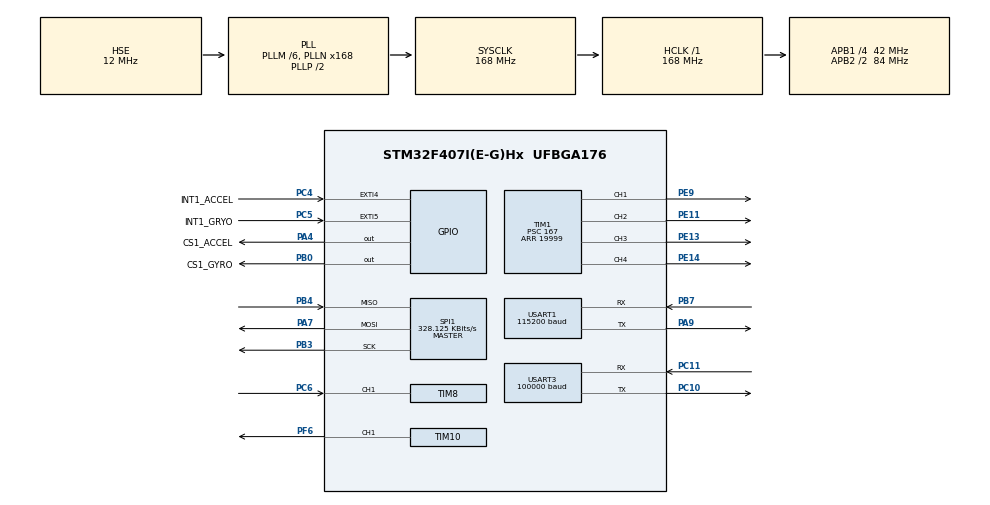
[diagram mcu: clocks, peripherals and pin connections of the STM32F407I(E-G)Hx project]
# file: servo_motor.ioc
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Dma.Request0=SPI1_RX
Dma.Request1=SPI1_TX
Dma.Request2=USART1_TX
Dma.Request3=USART3_RX
Dma.Request4=USART1_RX
Dma.SPI1_RX.0.Direction=DMA_PERIPH_TO_MEMORY
Dma.SPI1_RX.0.FIFOMode=DMA_FIFOMODE_DISABLE
Dma.SPI1_RX.0.Instance=DMA2_Stream2
Dma.SPI1_RX.0.MemDataAlignment=DMA_MDATAALIGN_BYTE
Dma.SPI1_RX.0.MemInc=DMA_MINC_ENABLE
Dma.SPI1_RX.0.Mode=DMA_NORMAL
Dma.SPI1_RX.0.PeriphDataAlignment=DMA_PDATAALIGN_BYTE
Dma.SPI1_RX.0.PeriphInc=DMA_PINC_DISABLE
Dma.SPI1_RX.0.Priority=DMA_PRIORITY_HIGH
Dma.SPI1_TX.1.Direction=DMA_MEMORY_TO_PERIPH
Dma.SPI1_TX.1.FIFOMode=DMA_FIFOMODE_DISABLE
Dma.SPI1_TX.1.Instance=DMA2_Stream3
Dma.SPI1_TX.1.MemDataAlignment=DMA_MDATAALIGN_BYTE
Dma.SPI1_TX.1.MemInc=DMA_MINC_ENABLE
Dma.SPI1_TX.1.Mode=DMA_NORMAL
Dma.SPI1_TX.1.PeriphDataAlignment=DMA_PDATAALIGN_BYTE
Dma.SPI1_TX.1.PeriphInc=DMA_PINC_DISABLE
Dma.SPI1_TX.1.Priority=DMA_PRIORITY_HIGH
Dma.USART1_RX.4.Direction=DMA_PERIPH_TO_MEMORY
Dma.USART1_RX.4.FIFOMode=DMA_FIFOMODE_DISABLE
Dma.USART1_RX.4.Instance=DMA2_Stream5
Dma.USART1_RX.4.MemDataAlignment=DMA_MDATAALIGN_BYTE
Dma.USART1_RX.4.MemInc=DMA_MINC_ENABLE
Dma.USART1_RX.4.Mode=DMA_NORMAL
Dma.USART1_RX.4.PeriphDataAlignment=DMA_PDATAALIGN_BYTE
Dma.USART1_RX.4.PeriphInc=DMA_PINC_DISABLE
Dma.USART1_RX.4.Priority=DMA_PRIORITY_VERY_HIGH
Dma.USART1_TX.2.Direction=DMA_MEMORY_TO_PERIPH
Dma.USART1_TX.2.FIFOMode=DMA_FIFOMODE_DISABLE
Dma.USART1_TX.2.Instance=DMA2_Stream7
Dma.USART1_TX.2.MemDataAlignment=DMA_MDATAALIGN_BYTE
Dma.USART1_TX.2.MemInc=DMA_MINC_ENABLE
Dma.USART1_TX.2.Mode=DMA_NORMAL
Dma.USART1_TX.2.PeriphDataAlignment=DMA_PDATAALIGN_BYTE
Dma.USART1_TX.2.PeriphInc=DMA_PINC_DISABLE
Dma.USART1_TX.2.Priority=DMA_PRIORITY_VERY_HIGH
Dma.USART3_RX.3.Direction=DMA_PERIPH_TO_MEMORY
Dma.USART3_RX.3.FIFOMode=DMA_FIFOMODE_DISABLE
Dma.USART3_RX.3.Instance=DMA1_Stream1
Dma.USART3_RX.3.MemDataAlignment=DMA_MDATAALIGN_BYTE
Dma.USART3_RX.3.MemInc=DMA_MINC_ENABLE
Dma.USART3_RX.3.Mode=DMA_NORMAL
Dma.USART3_RX.3.PeriphDataAlignment=DMA_PDATAALIGN_BYTE
Dma.USART3_RX.3.PeriphInc=DMA_PINC_DISABLE
Dma.USART3_RX.3.Priority=DMA_PRIORITY_MEDIUM
Mcu.Family=STM32F4
Mcu.Name=STM32F407I(E-G)Hx
Mcu.Package=UFBGA176
NVIC.DMA1_Stream1_IRQn=true\:0\:0\:false\:false\:true\:false\:true
NVIC.DMA2_Stream2_IRQn=true\:3\:0\:true\:false\:false\:false\:false
NVIC.DMA2_Stream3_IRQn=true\:2\:0\:true\:false\:false\:false\:false
NVIC.DMA2_Stream5_IRQn=true\:0\:0\:false\:false\:true\:false\:true
NVIC.DMA2_Stream7_IRQn=true\:1\:0\:true\:false\:true\:false\:true
NVIC.EXTI4_IRQn=true\:0\:0\:false\:false\:true\:true\:true
NVIC.EXTI9_5_IRQn=true\:0\:0\:false\:false\:true\:true\:true
NVIC.PriorityGroup=NVIC_PRIORITYGROUP_4
NVIC.TIM8_CC_IRQn=true\:0\:0\:true\:false\:true\:true\:true
NVIC.USART1_IRQn=true\:0\:0\:false\:false\:true\:true\:true
NVIC.USART3_IRQn=true\:4\:0\:true\:false\:true\:true\:true
PA13.Mode=Serial_Wire
PA13.Signal=SYS_JTMS-SWDIO
PA14.Mode=Serial_Wire
PA14.Signal=SYS_JTCK-SWCLK
PA4.GPIO_Label=CS1_ACCEL
PA4.GPIO_ModeDefaultOutputPP=GPIO_MODE_OUTPUT_PP
PA4.GPIO_PuPd=GPIO_PULLUP
PA4.GPIO_Speed=GPIO_SPEED_FREQ_HIGH
PA4.PinState=GPIO_PIN_SET
PA4.Signal=GPIO_Output
PA7.Mode=Full_Duplex_Master
PA7.Signal=SPI1_MOSI
PA9.Mode=Asynchronous
PA9.Signal=USART1_TX
PB0.GPIO_Label=CS1_GYRO
PB0.GPIO_PuPd=GPIO_PULLUP
PB0.GPIO_Speed=GPIO_SPEED_FREQ_HIGH
PB0.PinState=GPIO_PIN_SET
PB0.Signal=GPIO_Output
PB3.Mode=Full_Duplex_Master
PB3.Signal=SPI1_SCK
PB4.Mode=Full_Duplex_Master
PB4.Signal=SPI1_MISO
PB7.Mode=Asynchronous
PB7.Signal=USART1_RX
PC10.Mode=Asynchronous
PC10.Signal=USART3_TX
PC11.Mode=Asynchronous
PC11.Signal=USART3_RX
PC4.GPIO_Label=INT1_ACCEL
PC4.GPIO_ModeDefaultEXTI=GPIO_MODE_IT_FALLING
PC4.GPIO_PuPd=GPIO_PULLUP
PC4.Signal=GPXTI4
PC5.GPIO_Label=INT1_GRYO
PC5.GPIO_ModeDefaultEXTI=GPIO_MODE_IT_FALLING
PC5.GPIO_PuPd=GPIO_PULLUP
PC5.Signal=GPXTI5
PC6.GPIO_PuPd=GPIO_PULLUP
PC6.GPIO_Speed=GPIO_SPEED_FREQ_HIGH
PC6.Signal=S_TIM8_CH1
PE11.GPIO_PuPd=GPIO_PULLUP
PE11.GPIO_Speed=GPIO_SPEED_FREQ_HIGH
PE11.Signal=S_TIM1_CH2
PE13.GPIO_PuPd=GPIO_PULLUP
PE13.GPIO_Speed=GPIO_SPEED_FREQ_HIGH
PE13.Signal=S_TIM1_CH3
PE14.GPIO_PuPd=GPIO_PULLUP
PE14.GPIO_Speed=GPIO_SPEED_FREQ_HIGH
PE14.Signal=S_TIM1_CH4
PE9.GPIO_PuPd=GPIO_PULLUP
PE9.GPIO_Speed=GPIO_SPEED_FREQ_HIGH
PE9.Signal=S_TIM1_CH1
PF6.GPIO_PuPd=GPIO_PULLUP
PF6.GPIO_Speed=GPIO_SPEED_FREQ_HIGH
PF6.Signal=S_TIM10_CH1
PH0-OSC_IN.Mode=HSE-External-Oscillator
PH0-OSC_IN.Signal=RCC_OSC_IN
PH1-OSC_OUT.Mode=HSE-External-Oscillator
PH1-OSC_OUT.Signal=RCC_OSC_OUT
PI7.GPIO_PuPd=GPIO_PULLUP
PI7.GPIO_Speed=GPIO_SPEED_FREQ_HIGH
PI7.Signal=S_TIM8_CH3
ProjectManager.HeapSize=0x2000
ProjectManager.StackSize=0x2000
ProjectManager.TargetToolchain=MDK-ARM V5
RCC.48MHZClocksFreq_Value=48000000
RCC.AHBFreq_Value=168000000
RCC.APB1CLKDivider=RCC_HCLK_DIV4
RCC.APB1Freq_Value=42000000
RCC.APB1TimFreq_Value=84000000
RCC.APB2CLKDivider=RCC_HCLK_DIV2
RCC.APB2Freq_Value=84000000
RCC.APB2TimFreq_Value=168000000
RCC.CortexFreq_Value=21000000
RCC.Cortex_Div=SYSTICK_CLKSOURCE_HCLK_DIV8
RCC.HCLKFreq_Value=168000000
RCC.HSE_VALUE=12000000
RCC.HSI_VALUE=16000000
RCC.LSE_VALUE=32768
RCC.PLLM=6
RCC.PLLN=168
RCC.PLLQ=7
RCC.PLLSourceVirtual=RCC_PLLSOURCE_HSE
RCC.RCC_RTC_Clock_SourceVirtual=RCC_RTCCLKSOURCE_HSE_DIV30
RCC.RCC_RTC_Clock_Source_FROM_HSE=RCC_RTCCLKSOURCE_HSE_DIV30
RCC.SYSCLKFreq_VALUE=168000000
RCC.SYSCLKSource=RCC_SYSCLKSOURCE_PLLCLK
RCC.VCOOutputFreq_Value=336000000
SH.S_TIM10_CH1.0=TIM10_CH1,PWM Generation1 CH1
SH.S_TIM1_CH1.0=TIM1_CH1,PWM Generation1 CH1
SH.S_TIM1_CH2.0=TIM1_CH2,PWM Generation2 CH2
SH.S_TIM1_CH3.0=TIM1_CH3,PWM Generation3 CH3
SH.S_TIM1_CH4.0=TIM1_CH4,PWM Generation4 CH4
SH.S_TIM8_CH1.0=TIM8_CH1,Input_Capture1_from_TI1
SH.S_TIM8_CH3.0=TIM8_CH3
SPI1.BaudRatePrescaler=SPI_BAUDRATEPRESCALER_256
SPI1.CLKPhase=SPI_PHASE_2EDGE
SPI1.CLKPolarity=SPI_POLARITY_HIGH
SPI1.CalculateBaudRate=328.125 KBits/s
SPI1.Direction=SPI_DIRECTION_2LINES
SPI1.Mode=SPI_MODE_MASTER
SPI1.VirtualType=VM_MASTER
TIM1.Channel-PWM\ Generation1\ CH1=TIM_CHANNEL_1
TIM1.Channel-PWM\ Generation2\ CH2=TIM_CHANNEL_2
TIM1.Channel-PWM\ Generation3\ CH3=TIM_CHANNEL_3
TIM1.Channel-PWM\ Generation4\ CH4=TIM_CHANNEL_4
TIM1.Period=19999
TIM1.Prescaler=167
TIM1.Pulse-PWM\ Generation1\ CH1=2000
TIM1.Pulse-PWM\ Generation2\ CH2=2000
TIM1.Pulse-PWM\ Generation3\ CH3=2000
TIM1.Pulse-PWM\ Generation4\ CH4=2000
TIM10.Channel=TIM_CHANNEL_1
TIM10.Period=4999
TIM8.Channel-Input_Capture1_from_TI1=TIM_CHANNEL_1
TIM8.Period=0xffff
TIM8.Prescaler=2564
USART1.BaudRate=115200
USART1.VirtualMode=VM_ASYNC
USART3.BaudRate=100000
USART3.Mode=MODE_RX
USART3.Parity=PARITY_NONE
USART3.VirtualMode=VM_ASYNC
VP_TIM10_VS_ClockSourceINT.Mode=Enable_Timer
VP_TIM1_VS_ClockSourceINT.Mode=Internal
VP_TIM6_VS_ClockSourceINT.Mode=Enable_Timer
board=custom

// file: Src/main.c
/* USER CODE BEGIN Header */
/**
  ******************************************************************************
  * @file           : main.c
  * @brief          : Main program body
  ******************************************************************************
  * @attention
  *
  * <h2><center>&copy; Copyright (c) 2019 STMicroelectronics.
  * All rights reserved.</center></h2>
  *
  * This software component is licensed by ST under BSD 3-Clause license,
  * the "License"; You may not use this file except in compliance with the
  * License. You may obtain a copy of the License at:
  *                        opensource.org/licenses/BSD-3-Clause
  *
  ******************************************************************************
  */
/* USER CODE END Header */
#include "main.h"
#include "dma.h"
#include "spi.h"
#include "tim.h"
#include "usart.h"
#include "gpio.h"

/* USER CODE BEGIN Includes */
#include "bsp_usart.h"
#include <stdio.h>
#include <stdbool.h>   //so that i can use bool
#include <stdarg.h>
#include "string.h"
#include "BMI088driver.h"
#include "ANO.h"
#include "remote_control.h"
#include "mbotLinuxUsart.h"
/* USER CODE END Includes */

/* USER CODE BEGIN PV */
JEFF_CLOCK jeff_clock = {0};
/* USER CODE END PV */

void SystemClock_Config(void);

/* USER CODE BEGIN 0 */

//I'd like to thank this author who did me such a huge favour in pwm capture.
//https://controllerstech.com/how-to-use-input-capture-in-stm32/
//for ANO, I learnt from this tutorial
//https://www.bilibili.com/video/BV1cJ411N7P4/?spm_id_from=333.788.videocard.6

//please
uint8_t in_rx_it = 0;

//----------------------------IMU-----------------------------------------------------//
fp32 gyro[3], accel[3], temp;
//----------------------------IMU_END-----------------------------------------------------//

//--------------------------------------PERIODIC_CALLBACK_CLOCK----------------------------------------//
void clear_freq_100ms(void);

//--------------------------------------PERIODIC_CALLBACK_CLOCK----------------------------------------//

//-------------------------------------------------ANO--------------------------------------------------------------------------------------//

int trans_scale_gyro = 1e5;
int trans_scale_acce = 1e3;

#define BYTE0(dwTemp) (*( (char *)(&dwTemp)     ))
#define BYTE1(dwTemp) (*( (char *)(&dwTemp)+1     ))
#define BYTE2(dwTemp) (*( (char *)(&dwTemp)+2    ))
#define BYTE3(dwTemp) (*( (char *)(&dwTemp)+3    ))

//static uint8_t TxBuffer[256];
//static uint8_t TxCounter=0;
//static uint8_t count = 0;
//uint8_t Datatosend[100]; //int ANO
//void Uart1_Put_Buf(unsigned char *Datatosend, uint8_t data_num);
//void ANOINT(int16_t _a, int16_t _b, int32_t _c);

//unsigned int ANO
uint8_t testdatatosend[50];
void TestSendData(uint8_t *dataToSend, uint8_t length);
void Test_Send_User (int16_t data1, int16_t data2, int16_t data3,
					int16_t data4, int16_t data5, int16_t data6,
					int16_t data7,int16_t data8,int16_t data9,
					int16_t data10);

//-------------------------------------------ANO_END---------------------------------------//

//------------------------------------------DJI---------------------------------------------//
const RC_ctrl_t *local_rc_ctrl;
void usart_printf(const char *fmt,...)
{
    static uint8_t tx_buf[256] = {0};
    static va_list ap;
    static uint16_t len;
    va_start(ap, fmt);

    //return length of string
    //返回字符串长度
    len = vsprintf((char *)tx_buf, fmt, ap);

    va_end(ap);

    //usart1_tx_dma_enable(tx_buf, len);
	TestSendData(tx_buf, len);
}
//------------------------------------------DJI_END---------------------------------------------//

//--------------------------------------------ROS-------------------------------------------------//
const ROS_ctrl_t *local_ros_ctrl;

//测试发送变量
short testSend1   =5000;
short testSend2   =2000;
short testSend3   =1000;
unsigned char testSend4 = 0x05;

//测试接收变量
int testRece1     =0;
int testRece2     =0;
unsigned char testRece3 = 0x00;

//左右轮速控制速度共用体
union receiveData_t
{
	short d;
	unsigned char data[2];
}left,right;

//--------------------------------------------ROS-------------------------------------------------//

//testing
uint16_t cont1 =0;
uint8_t flip=0;
uint8_t times=0;
float t_pwm = 1600;
int16_t ref_hz = 0;

//capture freq
char str[12];
char str2[12];
float main_clock_freq = 168e6;
uint16_t psc_val = 2564;     ///range = 1hz to 13kHZ
uint16_t ARR_val = 0xffff;
float timer_counting_freq;
float IC_Value1=0.0;
float IC_Value2=0.0;
float Diff = 0.0;
float freq = 0.0;
float freq_prev = 0.0;
uint8_t Is_first_capture=0; //0-not captured, 1- captured

//pid part
float freq_to_m_rpm;
float motor_to_wheel;
float e_pre=0;
float e_now=0;
float delta_e=0;
float delta_t=1;  //This is changing, hard to capture?
float I_e=0;
int pid_scale = 1e5;
//float kp_raw=0.0001;
//float ki_raw=0.00005;
//float kd_raw=0.00001;
float kp_raw=10;
float ki_raw=5;
float kd_raw=1;
float kp;
float ki;
float kd;

void HAL_TIM_IC_CaptureCallback(TIM_HandleTypeDef *htim)
{
	if(htim->Channel == HAL_TIM_ACTIVE_CHANNEL_1) //If tim8 ch1 prompts an interrupt
	{
		if(Is_first_capture==0) //if first captured?
		{
			IC_Value1=HAL_TIM_ReadCapturedValue(htim,TIM_CHANNEL_1); //Read the timestamp
			Is_first_capture=1;
		}

		else if (Is_first_capture) //not the first capture
		{
			IC_Value2 = HAL_TIM_ReadCapturedValue(htim,TIM_CHANNEL_1); //Record the second capture
			if(IC_Value2 > IC_Value1)
								      /*
										Since we have adjusted psc to make sure
										the time difference between the two values are smaller
										than the time needed for counter to count from 0 to arr,
										then there are only two cases: IC2 and IC1 are on the same slope
										in which IC2 >ic1
										OR, IC2 and ic1 are on different slope in which ic2 MUST be smaller
										than ic1
										*/
			{
				Diff = IC_Value2 - IC_Value1;
			}
			else if(IC_Value2 < IC_Value1) //On different slope
			{
				Diff=((ARR_val-IC_Value1)+IC_Value2) +1; //i don't understand why plus 1;
			}
			else
			{
				Error_Handler();  //Built in hal func for which i have no idea what it is doing
			}
			//freq = (168e6/72)/Diff;
			freq = (timer_counting_freq)/Diff;
									/*
									//for psc = 72
									//168e6/72 is the freq of the timer, where 72 is the psc
									//168e6/72 gives how quick the counter is counting from 0 to ARR
									//So the timer counts every (72/168e6=4.2e-7) seconds and takes
									// 4.2e-7 *ARR(65536) = 0.028 seconds to reach ARR
									//So we need to make sure that the time difference between two
									//rising edge is within 0.028 seconds(as in this mode
									//when rising edge is detected and this function is called,
									// the current counting number will not be reset to zero)
									//otherwise the algo will fail
									//in other words, the minimum freq that we can detect
									// is (168e6/72)/ARR = 35.6 = 1/0.028
									//If the minimum freq required is even lower, we can adjust
									// the psc (72 here) to lower the mini detectable freq
									//The max detectable freq is the counting freq of the tim
									//or for a better precision 2 or 3 or 5times lower than
									// the couting freq of the tim
									//so here maxf = (168e6/72)/accurate_factor(5) = 466 kHz.
									//so detectable range is 35.6 to 466 khz

									//for psc = 2564  range = 1hz to 13kHZ
									//Might change to this psc in the future---- did --very good result
									*/

			Is_first_capture =0; //reset ready for next capture.
		}

	}
}
/* USER CODE END 0 */

int main(void)
{

  /* MCU Configuration--------------------------------------------------------*/

  /* Reset of all peripherals, Initializes the Flash interface and the Systick. */
  HAL_Init();

  /* Configure the system clock */
  SystemClock_Config();

  /* Initialize all configured peripherals */
  MX_GPIO_Init();
  MX_DMA_Init();
  MX_TIM8_Init();
  MX_TIM1_Init();
  MX_USART1_UART_Init();
  MX_SPI1_Init();
  MX_TIM10_Init();
  MX_USART3_UART_Init();
  MX_TIM6_Init();
  /* USER CODE BEGIN 2 */

  kp = kp_raw/pid_scale;
  ki = ki_raw/pid_scale;
  kd = kd_raw/pid_scale;
  //Init the IMU
  while(BMI088_init())
	{
		;
	}

  //DJI rc control
  remote_control_init();

  usart1_tx_dma_init();
  local_rc_ctrl = get_remote_control_point();

  //------------------------------------------------------ROS---------------------------------------------//
  ros_control_init();
  local_ros_ctrl = get_ros_control_point();
  //------------------------------------------------------ROS---------------------------------------------//

  //PWM
  HAL_TIM_Base_Start(&htim1);
  HAL_TIM_PWM_Start(&htim1, TIM_CHANNEL_1);
  HAL_TIM_PWM_Start(&htim1, TIM_CHANNEL_2);
  //HAL_TIM_PWM_Start(&htim1, TIM_CHANNEL_3);
  __HAL_TIM_SetCompare(&htim1, TIM_CHANNEL_1, 1500);
  __HAL_TIM_SetCompare(&htim1, TIM_CHANNEL_2, 1500);

  //Tim8 ch1 for capture
  HAL_TIM_IC_Start_IT(&htim8,TIM_CHANNEL_1);
  timer_counting_freq = main_clock_freq/psc_val;

  //usart1 it enable
  //__HAL_UART_ENABLE_IT(&huart1,UART_IT_TC); /////Must have this !!!!!!!!
  HAL_Delay(3000);

  /* USER CODE END 2 */

  /* Infinite loop */
  /* USER CODE BEGIN WHILE */
  while (1)
  {

/*
//20ms ARR 20000
//1600 motor: low back , wheel small to left (driver view) ----- 1.6ms ----------never give motor value greater than 1500
//1400 motor: low forward, wheel small to left -------------------1.4ms

//wheel
//left max-----1800 ----1.8ms
//right max ---- 1100  --- 1.2ms

//motor
//1500 zero ----------------------1.5ms   ------- 0hz
//2000 max ------------------------2ms -- forward  ---- 753~761hz
//could be higher
//never put value smaller than 1500;

DJI_controller
	  ch1: motor  upmax 660  downmin -660
	  ch2: lefthand left-660 right +660
  */

/*
//---------------------------------------Old_print_func-------------------------------------------//

//		sprintf(str2, "%d", ref_hz);
//		sprintf(str, "%f", freq);
//
//		//HAL_UART_Transmit(&huart1, "Actual:", 12, 100);
//		HAL_UART_Transmit(&huart1, str, 12, 100);
//		HAL_UART_Transmit(&huart1, "    \r\n", 12, 100);
//
//		//HAL_UART_Transmit(&huart1, "ref:", 12, 100);
//		HAL_UART_Transmit(&huart1, str2, 12, 100);
//		HAL_UART_Transmit(&huart1, "    \r\n", 12, 100);
//---------------------------------------Old_print_func-------------------------------------------//
*/

/*
//-------------------------------------PID_adjust----------------------------------------------//
//	if(flip==0)
//	{
//		cont1 ++;
//		if (cont1 >100)
//			{
//				ref_hz +=600;
//				if(ref_hz<700)
//				{
//					ref_hz = ref_hz;
//				}
//				else
//				{
//					ref_hz =400;
//				}
//
//				times ++;
//
//				if(times >1)
//				{
//					flip=1;
//					times = 0;
//				}
//
//
//				cont1 = 0;
//			}
//
//	}
//
//	if(flip==1)
//	{
//		cont1 ++;
//		if (cont1 >100)
//			{
//				ref_hz -=600;
//				if(ref_hz<701 && ref_hz>200)
//				{
//					ref_hz = ref_hz;
//				}
//				else
//				{
//					ref_hz =200;
//				}
//
//				times ++;
//
//				if(times >1)
//				{
//					flip=0;
//					times = 0;
//				}
//
//				cont1 = 0;
//			}
//
//	}

//--------------------------------------------PID_adjust------------------------------------------------//
*/

	testRece1 = local_ros_ctrl->ros.data[0];
	testRece2 = local_ros_ctrl->ros.data[1];
//-------------------------------------PID----------------------------------------------------//
	//ref_hz = local_rc_ctrl->rc.ch[1];  //ch0 : -660~+660   ref_hz: 0:700
	ref_hz = testRece1;
	if(ref_hz<0)
	{
		ref_hz=0;
	}
	e_pre = e_now; // a possible bug here

	e_now = ref_hz - freq;  //positive means low speed, so kp is positive
	I_e += e_now;   //ki positive

	delta_e = (e_now - e_pre)/delta_t;   /// watch sign   ---- possible bugs here
	//if the gradient is increasing

	t_pwm = kp*e_now + ki*I_e + kd*delta_e;
	if(t_pwm>1.0)
	{
		t_pwm = 1.0;
	}
	if(t_pwm<-1.0) t_pwm=-1.0;

	t_pwm =1500 + t_pwm*500; //motor moves forward range: 1500 to 2000  (1.5ms to 2ms)
	if(t_pwm<1500) t_pwm=1500;
	if(t_pwm>2000) t_pwm=2000;

//-------------------------------------PID_END----------------------------------------------------//

//----------------------------------------Rc_control-----------------------------------------//
	/*
	//wheel
//left max-----1800 ----1.8ms
//right max ---- 1100  --- 1.2ms

//motor
//1500 zero ----------------------1.5ms   ------- 0hz
//2000 max ------------------------2ms -- forward  ---- 753~761hz
//could be higher
//never put value smaller than 1500;

DJI_controller
	  ch1: motor  upmax 660  downmin -660
	  ch2: lefthand left-660 right +660

	  local_rc_ctrl->rc.ch[0], local_rc_ctrl->rc.ch[1], local_rc_ctrl->rc.ch[2], local_rc_ctrl->rc.ch[3], local_rc_ctrl->rc.ch[4],
	*/

	//float wheel = 1500 + 0.45*(-1)*local_rc_ctrl->rc.ch[2];  //so wheel -400 to +400
	//float wheel = 1500 + 0.45*(-1)*testRece2;
	//float wheel = testRece2 * -1.0;
	__HAL_TIM_SetCompare(&htim1, TIM_CHANNEL_1, t_pwm);
	__HAL_TIM_SetCompare(&htim1, TIM_CHANNEL_2, testRece2);
//----------------------------------------Rc_control_END-----------------------------------------//

//---------------------------------------IMU----------------------------------------------//
    BMI088_read(gyro, accel, &temp);
//---------------------------------------IMU_END----------------------------------------------//

//--------------------------------------ANO-----------------------------------------------//

//	gyro[0] *= trans_scale_gyro;
//	gyro[1] *= trans_scale_gyro;
//	gyro[2] *= trans_scale_gyro;
//	accel[0] *= trans_scale_acce;
//	accel[1] *= trans_scale_acce;
//	accel[2] *= trans_scale_acce;

	//Test_Send_User(ref_hz,freq,gyro[0],gyro[1],gyro[2],accel[0],accel[1],accel[2],temp,wheel);

//	usart_printf(
//"**********\r\n\
//ch0:%d\r\n\
//ch1:%d\r\n\
//ch2:%d\r\n\
//ch3:%d\r\n\
//ch4:%d\r\n\
//s1:%d\r\n\
//s2:%d\r\n\
//mouse_x:%d\r\n\
//mouse_y:%d\r\n\
//press_l:%d\r\n\
//press_r:%d\r\n\
//key:%d\r\n\
//**********\r\n",
//            local_rc_ctrl->rc.ch[0], local_rc_ctrl->rc.ch[1], local_rc_ctrl->rc.ch[2], local_rc_ctrl->rc.ch[3], local_rc_ctrl->rc.ch[4],
//            local_rc_ctrl->rc.s[0], local_rc_ctrl->rc.s[1],
//            local_rc_ctrl->mouse.x, local_rc_ctrl->mouse.y,local_rc_ctrl->mouse.z, local_rc_ctrl->mouse.press_l, local_rc_ctrl->mouse.press_r,
//            local_rc_ctrl->key.v);
//
//			HAL_Delay(20);
//--------------------------------------ANO-----------------------------------------------//

//--------------------------------------------ROS-------------------------------------------------//

	/* OLD RECE
	if(USART_RX_STA&0x8000)
		{
			//uint8_t USART_Receiver[200];          //接收数据
			//len=USART_RX_STA&0x3fff;//得到此次接收到的数据长度
			//printf("\r\nThe msg you are sending is:\r\n");
			//HAL_UART_Transmit(&huart1,(uint8_t*)&USART_RX_BUF,len,1);	//发送接收到的数据
			//while(__HAL_UART_GET_FLAG(&huart1,UART_FLAG_TC)!=SET);		//等待发送结束
			//printf("\r\n\r\n");//插入换行
			//USART_RX_STA=0;
			//testRece1++;
			//USART_Receiver = *USART_RX_BUF;
			//usartReceiveOneData(&testRece1,&testRece2,&testRece3);
			//usartSendData(USART_Receiver[1],USART_RX_BUF[1],USART_RX_BUF[5],testSend4);
			//usartSendData(testRece1,testRece2,testRece3,testSend4);

			//unsigned char USART_Receiver              = 0;          //接收数据
			static unsigned char checkSum             = 0;
			static short j=0,k=0;
			static short dataLength                   = 0;
			bool yes =1;

		    unsigned char  receiveBuff[16] = {0};    //16 bytes each byte has 8 bits  [i]means one byte area
			//通信协议常量
		    const unsigned char header[2]  = {0x55, 0xaa};
			//const unsigned char ender[2]   = {0x0d, 0x0a};

			receiveBuff[0]=header[0];         //buf[0]
			receiveBuff[1]=header[1];         //buf[1]
			checkSum = 0x00;				  //校验和初始化
			receiveBuff[2]=USART_RX_BUF[2];         //buf[1] //数据的长度
			dataLength = receiveBuff[2];
			for(j=0;j<dataLength;j++)
				receiveBuff[j+3] = USART_RX_BUF[j+3];  //data length is 5 bytes  two var have two bytes each
														// one variable has one byte: the ctrlFlag
			receiveBuff[3+dataLength] = USART_RX_BUF[3+dataLength];  //buff[8]
			checkSum = getCrc8(receiveBuff,3 + dataLength);  //try getCrc8(&receiveBuff
			if(checkSum != receiveBuff[3+dataLength])
				{
					//printf("crc8 error");
					yes = 0;
					return 0;
				}

			if(yes)
			{
				receiveBuff[3+dataLength+1] = USART_RX_BUF[3+dataLength+1];  //get 0x0d
				receiveBuff[3+dataLength+2] = USART_RX_BUF[3+dataLength+2];  //get 0x0a
				for (k=0; k<2; k++)
					{
						left.data[k] = receiveBuff[k+3];
						right.data[k] = receiveBuff[k+5];
					}
				testRece1 = (int) left.d;
				testRece2 = (int) right.d;
				testRece3 = receiveBuff[3+dataLength-1];
			}

			//-----------------------------------------------------------------
			//完成一个数据包的接收，相关变量清零，等待下一字节数据
			checkSum = 0;
			dataLength=0;
			j=0;
			k=0;
			yes=1;
			USART_RX_STA = 0;

			//usartSendData(testRece1,testRece2,testRece3,testSend4);
		}
	*/
	//testSend1 =
	//usartSendData(testRece1,testRece2,testRece3,testSend4);
	//usartSendDouble(gyro[0],gyro[1],gyro[2],accel[0],accel[1],accel[2],temp);
	//usartSendprecison(gyro[0],gyro[1],gyro[2],accel[0],accel[1],accel[2],temp);

	unsigned char freq_send = freq/5;
	//usartSendprecison(gyro[0],gyro[1],gyro[2],accel[0],accel[1],accel[2],in_rx_it);
	usartSendprecison(gyro[0],gyro[1],gyro[2],accel[0],accel[1],accel[2],freq_send);
	//__HAL_TIM_SetCompare(&htim1, TIM_CHANNEL_1, left.data);
	//__HAL_TIM_SetCompare(&htim1, TIM_CHANNEL_2, wheel);
//--------------------------------------------ROS_END-------------------------------------------------//

//--------------------------------------PERIODIC_CALLBACK_CLOCK----------------------------------------//
	//jeff_clock.tickstart=HAL_GetTick();//获取延时起始值
	//死循环比较，直到到达延时值，每次1ms，1000次为1s
	//http://www.mculover666.cn/posts/4283984198/
	if(HAL_GetTick() %20 == 0)  //once reach 100ms, clear the freq to zero
	{
		clear_freq_100ms();
	}

//--------------------------------------PERIODIC_CALLBACK_CLOCK_END----------------------------------------//

	HAL_Delay(20);
//while end scope
	}

    /* USER CODE END WHILE */

}

void SystemClock_Config(void)
{
  RCC_OscInitTypeDef RCC_OscInitStruct = {0};
  RCC_ClkInitTypeDef RCC_ClkInitStruct = {0};

  /** Configure the main internal regulator output voltage
  */
  __HAL_RCC_PWR_CLK_ENABLE();
  __HAL_PWR_VOLTAGESCALING_CONFIG(PWR_REGULATOR_VOLTAGE_SCALE1);
  /** Initializes the RCC Oscillators according to the specified parameters
  * in the RCC_OscInitTypeDef structure.
  */
  RCC_OscInitStruct.OscillatorType = RCC_OSCILLATORTYPE_HSE;
  RCC_OscInitStruct.HSEState = RCC_HSE_ON;
  RCC_OscInitStruct.PLL.PLLState = RCC_PLL_ON;
  RCC_OscInitStruct.PLL.PLLSource = RCC_PLLSOURCE_HSE;
  RCC_OscInitStruct.PLL.PLLM = 6;
  RCC_OscInitStruct.PLL.PLLN = 168;
  RCC_OscInitStruct.PLL.PLLP = RCC_PLLP_DIV2;
  RCC_OscInitStruct.PLL.PLLQ = 7;
  if (HAL_RCC_OscConfig(&RCC_OscInitStruct) != HAL_OK)
  {
    Error_Handler();
  }
  /** Initializes the CPU, AHB and APB buses clocks
  */
  RCC_ClkInitStruct.ClockType = RCC_CLOCKTYPE_HCLK|RCC_CLOCKTYPE_SYSCLK
                              |RCC_CLOCKTYPE_PCLK1|RCC_CLOCKTYPE_PCLK2;
  RCC_ClkInitStruct.SYSCLKSource = RCC_SYSCLKSOURCE_PLLCLK;
  RCC_ClkInitStruct.AHBCLKDivider = RCC_SYSCLK_DIV1;
  RCC_ClkInitStruct.APB1CLKDivider = RCC_HCLK_DIV4;
  RCC_ClkInitStruct.APB2CLKDivider = RCC_HCLK_DIV2;

  if (HAL_RCC_ClockConfig(&RCC_ClkInitStruct, FLASH_LATENCY_5) != HAL_OK)
  {
    Error_Handler();
  }
}

/* USER CODE BEGIN 4 */
//--------------------------------------ANO-----------------------------------------------//

///*
void TestSendData(uint8_t *dataToSend, uint8_t length)  //not using dma
{
	//HAL_UART_Transmit(&huart1,(uint8_t *)&testdatatosend, length, 0xffff); //not using dma
	HAL_UART_Transmit_DMA(&huart1,(uint8_t *)&testdatatosend,length);// dma is better

}

void Test_Send_User (int16_t data1, int16_t data2, int16_t data3,
					int16_t data4, int16_t data5, int16_t data6,
					int16_t data7,int16_t data8,int16_t data9,
					int16_t data10)
{
	uint8_t _cnt=0;
	testdatatosend[_cnt++]=0xAA; //head
	testdatatosend[_cnt++]=0x05;  //target address
	testdatatosend[_cnt++]=0xAF; //receriver add ??  these two are default -- don't need to change
	testdatatosend[_cnt++]=0xF1;  //function id --- just choice F1
	testdatatosend[_cnt++]=0;   // length of data --  set to zero for now

	testdatatosend[_cnt++]=BYTE1(data1);
	testdatatosend[_cnt++]=BYTE0(data1);

	testdatatosend[_cnt++]=BYTE1(data2);
	testdatatosend[_cnt++]=BYTE0(data2);

	testdatatosend[_cnt++]=BYTE1(data3);
	testdatatosend[_cnt++]=BYTE0(data3);

	testdatatosend[_cnt++]=BYTE1(data4);
	testdatatosend[_cnt++]=BYTE0(data4);

	testdatatosend[_cnt++]=BYTE1(data5);
	testdatatosend[_cnt++]=BYTE0(data5);

	testdatatosend[_cnt++]=BYTE1(data6);
	testdatatosend[_cnt++]=BYTE0(data6);

	testdatatosend[_cnt++]=BYTE1(data7);
	testdatatosend[_cnt++]=BYTE0(data7);

	testdatatosend[_cnt++]=BYTE1(data8);
	testdatatosend[_cnt++]=BYTE0(data8);

	testdatatosend[_cnt++]=BYTE1(data9);
	testdatatosend[_cnt++]=BYTE0(data9);

	testdatatosend[_cnt++]=BYTE1(data10);
	testdatatosend[_cnt++]=BYTE0(data10);

	testdatatosend[4] = _cnt - 5;    //the fifth bit [4] stores the length of data, we set this to zero initially, now we need to calculate
									//_cnt stores the length of the whole signal up till now, we minus 5(the first five bits eg header, target address balalla to get the length of data
									//see
									//https://www.bilibili.com/video/BV1TJ411r7a3?from=search&seid=16506637512618591906
									//

	uint8_t sum = 0;

	for(uint8_t i=0; i<_cnt; i++)
		sum += testdatatosend[i];

	testdatatosend[_cnt++]=sum;   //sum is the sum check bits, the last bits in the signal

	TestSendData(testdatatosend, _cnt);  //using dma
	//HAL_UART_Transmit_DMA(&huart1,testdatatosend,_cnt);
	//usart1_tx_dma_enable(testdatatosend,_cnt); //use dma
}
//*/

//--------------------------------------ANO_END-----------------------------------------------//

//--------------------------------------PERIODIC_CALLBACK_CLOCK----------------------------------------//
void clear_freq_100ms(void)
{
	freq =0.0;
}

//--------------------------------------PERIODIC_CALLBACK_CLOCK----------------------------------------//

/* USER CODE END 4 */

void Error_Handler(void)
{
}

/************************ (C) COPYRIGHT STMicroelectronics *****END OF FILE****/
